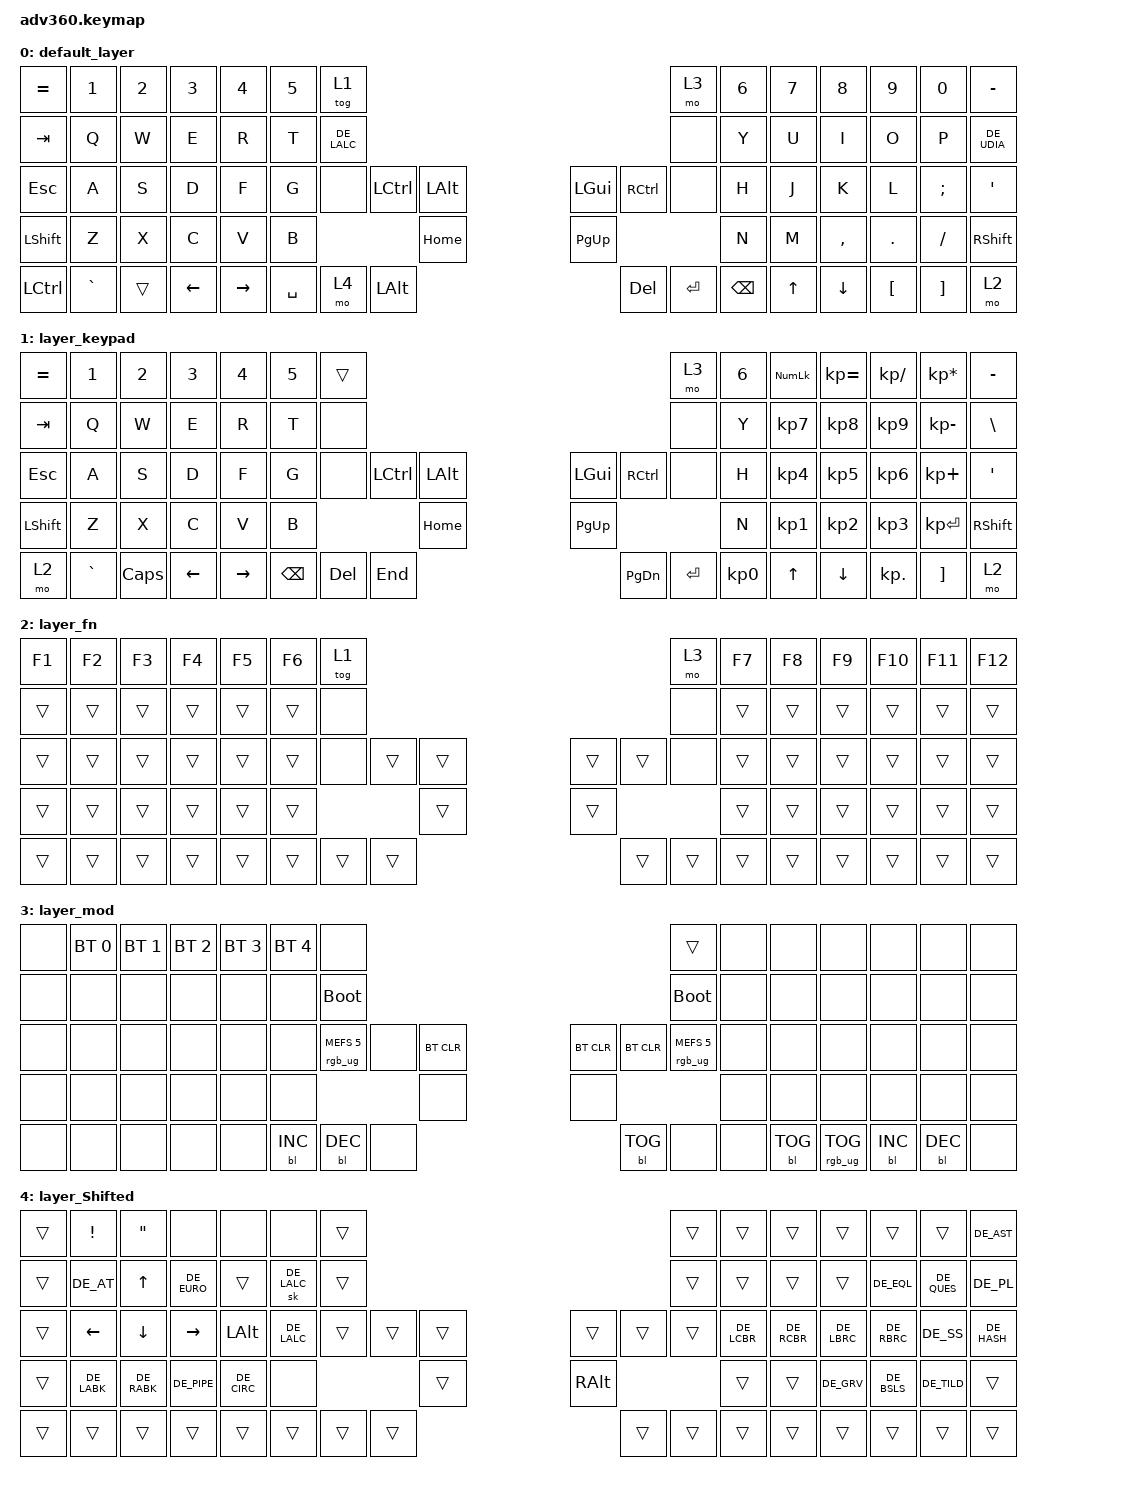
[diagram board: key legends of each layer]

/*
 * Copyright (c) 2020 The ZMK Contributors
 *
 * SPDX-License-Identifier: MIT
 */


/* THIS FILE WAS GENERATED!
 *
 * This file was generated automatically. You may or may not want to
 * edit it directly.
 */

#include <behaviors.dtsi>
#include <dt-bindings/zmk/keys.h>
#include <dt-bindings/zmk/bt.h>
#include <dt-bindings/zmk/rgb.h>
#include <dt-bindings/zmk/backlight.h>
#include "keys_de.h"

/ {
  behaviors {
    #include "macros.dtsi"

    hm: homerow_mods {
        compatible = "zmk,behavior-hold-tap";
        label = "HOMEROW_MODS";
        #binding-cells = <2>;
        tapping-term-ms = <200>;
        quick_tap_ms = <175>;
        flavor = "tap-preferred";
        bindings = <&kp>, <&kp>;
    };
  };

    keymap {
        compatible = "zmk,keymap";


        default_layer {
            bindings = <
 &kp EQUAL     &kp N1    &kp N2    &kp N3     &kp N4  &kp N5               &tog 1                                                                     &mo 3  &kp N6  &kp N7     &kp N8    &kp N9    &kp N0  &kp MINUS
   &kp TAB      &kp Q     &kp W     &kp E      &kp R   &kp T                &kp DE_LALC                                                                     &none   &kp Y   &kp U      &kp I     &kp O     &kp P   &kp DE_UDIA
   &kp ESC      &kp A     &kp S     &kp D      &kp F   &kp G                &none  &kp LCTRL  &kp LALT                   &kp LGUI  &kp RCTRL          &none   &kp H   &kp J      &kp K     &kp L  &kp SEMI    &kp SQT
 &kp LSHFT      &kp Z     &kp X     &kp C      &kp V   &kp B                                  &kp HOME                  &kp PG_UP                             &kp N   &kp M  &kp COMMA   &kp DOT  &kp FSLH  &kp RSHFT
 &kp LCTRL  &kp GRAVE  &trans  &kp LEFT  &kp RIGHT                    &kp SPACE    &mo 4     &kp LALT                     &kp DEL  &kp ENTER  &kp BACKSPACE          &kp UP   &kp DOWN  &kp LBKT  &kp RBKT      &mo 2
            >;
        };

        layer_keypad {
            bindings = <
 &kp EQUAL     &kp N1    &kp N2    &kp N3     &kp N4  &kp N5              &trans                                                                 &mo 3  &kp N6  &kp KP_NUM  &kp KP_EQUAL  &kp KP_DIVIDE  &kp KP_MULTIPLY  &kp MINUS
   &kp TAB      &kp Q     &kp W     &kp E      &kp R   &kp T               &none                                                                 &none   &kp Y   &kp KP_N7     &kp KP_N8      &kp KP_N9     &kp KP_MINUS   &kp BSLH
   &kp ESC      &kp A     &kp S     &kp D      &kp F   &kp G               &none  &kp LCTRL  &kp LALT                   &kp LGUI  &kp RCTRL      &none   &kp H   &kp KP_N4     &kp KP_N5      &kp KP_N6      &kp KP_PLUS    &kp SQT
 &kp LSHFT      &kp Z     &kp X     &kp C      &kp V   &kp B                                 &kp HOME                  &kp PG_UP                         &kp N   &kp KP_N1     &kp KP_N2      &kp KP_N3     &kp KP_ENTER  &kp RSHFT
     &mo 2  &kp GRAVE  &kp CAPS  &kp LEFT  &kp RIGHT                    &kp BSPC    &kp DEL   &kp END                  &kp PG_DN  &kp ENTER  &kp KP_N0              &kp UP      &kp DOWN     &kp KP_DOT         &kp RBKT      &mo 2
            >;
        };

        layer_fn {
            bindings = <
 &kp F1  &kp F2  &kp F3  &kp F4  &kp F5  &kp F6            &tog 1                                                   &mo 3  &kp F7  &kp F8  &kp F9  &kp F10  &kp F11  &kp F12
 &trans  &trans  &trans  &trans  &trans  &trans             &none                                                   &none  &trans  &trans  &trans   &trans   &trans   &trans
 &trans  &trans  &trans  &trans  &trans  &trans             &none  &trans  &trans                  &trans  &trans   &none  &trans  &trans  &trans   &trans   &trans   &trans
 &trans  &trans  &trans  &trans  &trans  &trans                            &trans                  &trans                  &trans  &trans  &trans   &trans   &trans   &trans
 &trans  &trans  &trans  &trans  &trans                    &trans  &trans  &trans                  &trans  &trans  &trans          &trans  &trans   &trans   &trans   &trans
            >;
        };

        layer_mod {
            bindings = <
  &none  &bt BT_SEL 0  &bt BT_SEL 1  &bt BT_SEL 2  &bt BT_SEL 3  &bt BT_SEL 4                             &none                                                                                  &trans   &none       &none            &none       &none       &none   &none
  &none         &none         &none         &none         &none         &none                       &bootloader                                                                             &bootloader   &none       &none            &none       &none       &none   &none
  &none         &none         &none         &none         &none         &none            &rgb_ug RGB_MEFS_CMD 5       &none  &bt BT_CLR                  &bt BT_CLR  &bt BT_CLR  &rgb_ug RGB_MEFS_CMD 5   &none       &none            &none       &none       &none   &none
  &none         &none         &none         &none         &none         &none                                                     &none                       &none                                       &none       &none            &none       &none       &none   &none
  &none         &none         &none         &none         &none                                      &bl BL_INC  &bl BL_DEC       &none                  &bl BL_TOG       &none                   &none          &bl BL_TOG  &rgb_ug RGB_TOG  &bl BL_INC  &bl BL_DEC   &none
            >;
        };

        layer_Shifted {
            bindings = <
 &trans  &kp EXCLAMATION  &kp DOUBLE_QUOTES     &none         &none         &none            &trans                                                                &trans          &trans            &trans       &trans          &trans           &trans       &kp DE_AST
 &trans  &kp DE_AT        &kp UP                &kp DE_EURO   &trans        &sk DE_LALC          &trans                                                               &trans          &trans            &trans       &trans          &kp DE_EQL       &kp DE_QUES  &kp DE_PL
 &trans  &kp LEFT         &kp DOWN              &kp RIGHT     &kp LALT      &kp DE_LALC     &trans  &trans  &trans                         &trans  &trans         &trans          &kp DE_LCBR       &kp DE_RCBR  &kp DE_LBRC     &kp DE_RBRC      &kp DE_SS    &kp DE_HASH
 &trans  &kp DE_LABK      &kp DE_RABK           &kp DE_PIPE   &kp DE_CIRC   &none                            &trans                         &kp RIGHT_ALT                          &trans            &trans       &kp DE_GRV      &kp DE_BSLS           &kp DE_TILD       &trans
 &trans  &trans           &trans                &trans        &trans                    &trans  &trans  &trans                        &trans  &trans  &trans                                   &trans       &trans          &trans           &trans       &trans
            >;
        };

    };
};
